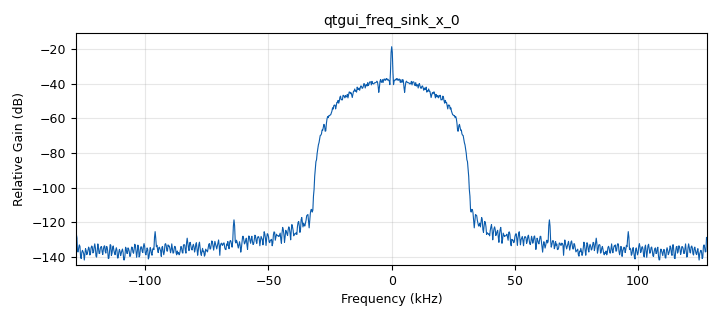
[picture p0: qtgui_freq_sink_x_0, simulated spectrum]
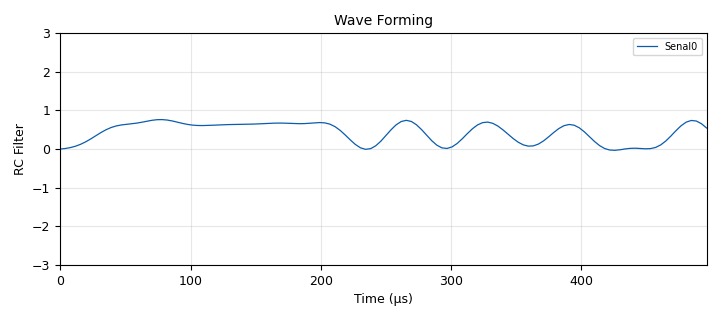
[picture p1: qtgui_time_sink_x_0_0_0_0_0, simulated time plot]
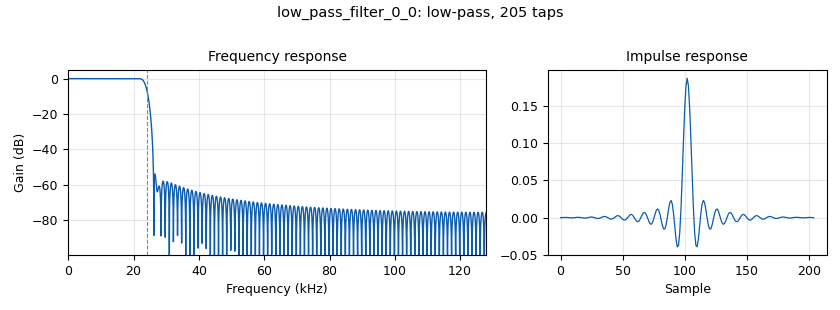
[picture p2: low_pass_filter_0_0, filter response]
<?xml version='1.0' encoding='utf-8'?>
<?grc format='1' created='3.7.13'?>
<flow_graph>
<block>
<key>options</key>
<param><key>id</key><value>top_block</value></param>
<param><key>category</key><value>Custom</value></param>
<param><key>generate_options</key><value>qt_gui</value></param>
</block>
<block>
<key>variable</key>
<param><key>id</key><value>Rb</value></param>
<param><key>value</key><value>32000</value></param>
</block>
<block>
<key>variable</key>
<param><key>id</key><value>Sps</value></param>
<param><key>value</key><value>8</value></param>
</block>
<block>
<key>variable</key>
<param><key>id</key><value>ntaps</value></param>
<param><key>value</key><value>128</value></param>
</block>
<block>
<key>variable</key>
<param><key>id</key><value>rolloff1</value></param>
<param><key>value</key><value>1.0</value></param>
</block>
<block>
<key>variable</key>
<param><key>id</key><value>rolloff2</value></param>
<param><key>value</key><value>0.5</value></param>
</block>
<block>
<key>variable</key>
<param><key>id</key><value>rolloff3</value></param>
<param><key>value</key><value>0.35</value></param>
</block>
<block>
<key>variable</key>
<param><key>id</key><value>rolloff4</value></param>
<param><key>value</key><value>0.</value></param>
</block>
<block>
<key>variable</key>
<param><key>id</key><value>samp_rate</value></param>
<param><key>value</key><value>Rb*Sps</value></param>
</block>
<block>
<key>E3TRadio_vec_diagrama_ojo_f</key>
<param><key>id</key><value>E3TRadio_vec_diagrama_ojo_f_0</value></param>
<param><key>N</key><value>Sps*256</value></param>
<param><key>Sps</key><value>Sps</value></param>
<param><key>samp_rate</key><value>samp_rate</value></param>
</block>
<block>
<key>virtual_sink</key>
<param><key>id</key><value>VS</value></param>
<param><key>stream_id</key><value>P1</value></param>
</block>
<block>
<key>analog_noise_source_x</key>
<param><key>id</key><value>analog_noise_source_x_0</value></param>
<param><key>amp</key><value>0.15</value></param>
<param><key>noise_type</key><value>analog.GR_GAUSSIAN</value></param>
<param><key>type</key><value>float</value></param>
<param><key>seed</key><value>0</value></param>
</block>
<block>
<key>analog_random_source_x</key>
<param><key>id</key><value>analog_random_source_x_0</value></param>
<param><key>max</key><value>2</value></param>
<param><key>min</key><value>0</value></param>
<param><key>num_samps</key><value>1000000</value></param>
<param><key>type</key><value>int</value></param>
<param><key>repeat</key><value>True</value></param>
</block>
<block>
<key>blocks_add_xx</key>
<param><key>id</key><value>blocks_add_xx_0_0</value></param>
<param><key>type</key><value>float</value></param>
</block>
<block>
<key>blocks_delay</key>
<param><key>id</key><value>blocks_delay_0</value></param>
<param><key>delay</key><value>int(Sps/2)</value></param>
<param><key>type</key><value>float</value></param>
</block>
<block>
<key>blocks_int_to_float</key>
<param><key>id</key><value>blocks_int_to_float_0</value></param>
<param><key>scale</key><value>1</value></param>
</block>
<block>
<key>blocks_multiply_const_vxx</key>
<param><key>id</key><value>blocks_multiply_const_vxx_0_0</value></param>
<param><key>const</key><value>1/1.5</value></param>
<param><key>type</key><value>float</value></param>
</block>
<block>
<key>blocks_stream_to_vector</key>
<param><key>id</key><value>blocks_stream_to_vector_0_0</value></param>
<param><key>type</key><value>float</value></param>
<param><key>num_items</key><value>Sps*256</value></param>
</block>
<block>
<key>import</key>
<param><key>id</key><value>import_0</value></param>
<param><key>import</key><value>import numpy</value></param>
</block>
<block>
<key>interp_fir_filter_xxx</key>
<param><key>id</key><value>interp_fir_filter_xxx_0_0_0_0_0_0</value></param>
<param><key>interp</key><value>Sps</value></param>
<param><key>taps</key><value>wform.rcos(Sps,ntaps,rolloff1)</value></param>
<param><key>type</key><value>fff</value></param>
</block>
<block>
<key>low_pass_filter</key>
<param><key>id</key><value>low_pass_filter_0_0</value></param>
<param><key>cutoff_freq</key><value>(Rb/2)*(1+rolloff2)</value></param>
<param><key>decim</key><value>1</value></param>
<param><key>type</key><value>fir_filter_fff</value></param>
<param><key>gain</key><value>1</value></param>
<param><key>samp_rate</key><value>samp_rate</value></param>
<param><key>width</key><value>(Rb/2)*(1+rolloff2)/8</value></param>
<param><key>win</key><value>firdes.WIN_HAMMING</value></param>
</block>
<block>
<key>qtgui_tab_widget</key>
<param><key>id</key><value>pestana</value></param>
<param><key>label0</key><value>Waveform Signal</value></param>
<param><key>label1</key><value>Spectrum</value></param>
<param><key>label2</key><value></value></param>
<param><key>num_tabs</key><value>3</value></param>
</block>
<block>
<key>qtgui_freq_sink_x</key>
<param><key>id</key><value>qtgui_freq_sink_x_0</value></param>
<param><key>autoscale</key><value>True</value></param>
<param><key>average</key><value>0.05</value></param>
<param><key>bw</key><value>samp_rate</value></param>
<param><key>fc</key><value>0</value></param>
<param><key>fftsize</key><value>1024</value></param>
<param><key>gui_hint</key><value>pestana@1</value></param>
<param><key>width1</key><value>3</value></param>
<param><key>showports</key><value>True</value></param>
<param><key>type</key><value>float</value></param>
<param><key>wintype</key><value>firdes.WIN_BLACKMAN_hARRIS</value></param>
</block>
<block>
<key>qtgui_time_sink_x</key>
<param><key>id</key><value>qtgui_time_sink_x_0_0_0_0_0</value></param>
<param><key>ctrlpanel</key><value>True</value></param>
<param><key>gui_hint</key><value>pestana@0</value></param>
<param><key>color1</key><value>"blue"</value></param>
<param><key>label1</key><value>Senal0</value></param>
<param><key>width1</key><value>3</value></param>
<param><key>name</key><value>"Wave Forming"</value></param>
<param><key>size</key><value>ntaps</value></param>
<param><key>srate</key><value>samp_rate</value></param>
<param><key>tr_mode</key><value>qtgui.TRIG_MODE_AUTO</value></param>
<param><key>type</key><value>float</value></param>
<param><key>ylabel</key><value>RC Filter</value></param>
<param><key>ymax</key><value>3</value></param>
<param><key>ymin</key><value>-3</value></param>
</block>
<block>
<key>virtual_source</key>
<param><key>id</key><value>virtual_source_0</value></param>
<param><key>stream_id</key><value>P1</value></param>
</block>
<block>
<key>epy_module</key>
<param><key>id</key><value>wform</value></param>
<param><key>source_code</key><value>import math
import numpy
#######################################################
##        Hecho por Homero Ortega Boada              ##
##        comdiguis@saber.uis.edu.co                 ##
##     Universidad Industrial de Santander           ##
#######################################################

#######################################################
##               Forma rectangular                   ##
#######################################################                       
def rect(Sps):
    return Sps*[1.,]

#######################################################
##               Forma de Nyquist                    ##
#######################################################                       
def nyq(Sps,ntaps):
    n=numpy.linspace(-int(ntaps/2), int(ntaps/2-1),ntaps)
    h=numpy.sinc(n/Sps)
#    return h/numpy.amax(h)
    return h
#######################################################
##               Forma Coseno Alzado                 ##
#######################################################                       
def rcos(Sps,ntaps,beta):
    if beta==0:
        h=nyq(Sps,ntaps)
    else:
        h=ntaps*[0,]
        for n in range(ntaps):
            k=n-ntaps/2. # esto es para que h[n] quede centrada en la mitad del vector
            if abs(k)==Sps/(2.*beta):
                h[n]=numpy.sinc(1./(2.*beta))*math.pi/4.
            else:
                h[n]=numpy.sinc(k/Sps)*math.cos(beta*k*math.pi/Sps)/(1.-(2.*beta*k/Sps)**2)                
    Amp=numpy.amax(h)
    return h/Amp
#######################################################
##            Forma Raiz de Coseno Alzado            ##
#######################################################                       

def rrcos(Sps,ntaps,beta):
    if beta==0:
        h=nyq(Sps,ntaps)
    else:
        h=ntaps*[0,]
        beta4=4.*beta
        for n in range(ntaps):
            k=n-ntaps/2. # esto es para que h[n] quede centrada en la mitad del vector
            if k==0:
                h[n]=1+beta*(4./math.pi-1.)
            elif abs(k)==Sps/beta4:
                ha=(1.+2./math.pi)*math.sin(math.pi/beta4)
                hb=(1.-2./math.pi)*math.cos(math.pi/beta4)
                h[n]=(ha+hb)*beta/math.sqrt(2.)
            else:
                ks=k/Sps
                kspi=math.pi*ks
                Num=math.sin(kspi*(1-beta))+beta4*ks*math.cos(kspi*(1+beta))
                Den=kspi*(1.-(beta4*ks)**2)
                h[n]=Num/Den                
    Amp=numpy.amax(h)
    return h/Amp
</value></param>
</block>
<connection><source_block_id>analog_noise_source_x_0</source_block_id><sink_block_id>low_pass_filter_0_0</sink_block_id><source_key>0</source_key><sink_key>0</sink_key></connection>
<connection><source_block_id>analog_random_source_x_0</source_block_id><sink_block_id>blocks_int_to_float_0</sink_block_id><source_key>0</source_key><sink_key>0</sink_key></connection>
<connection><source_block_id>blocks_add_xx_0_0</source_block_id><sink_block_id>blocks_multiply_const_vxx_0_0</sink_block_id><source_key>0</source_key><sink_key>0</sink_key></connection>
<connection><source_block_id>blocks_delay_0</source_block_id><sink_block_id>blocks_stream_to_vector_0_0</sink_block_id><source_key>0</source_key><sink_key>0</sink_key></connection>
<connection><source_block_id>blocks_int_to_float_0</source_block_id><sink_block_id>interp_fir_filter_xxx_0_0_0_0_0_0</sink_block_id><source_key>0</source_key><sink_key>0</sink_key></connection>
<connection><source_block_id>blocks_multiply_const_vxx_0_0</source_block_id><sink_block_id>VS</sink_block_id><source_key>0</source_key><sink_key>0</sink_key></connection>
<connection><source_block_id>blocks_stream_to_vector_0_0</source_block_id><sink_block_id>E3TRadio_vec_diagrama_ojo_f_0</sink_block_id><source_key>0</source_key><sink_key>0</sink_key></connection>
<connection><source_block_id>interp_fir_filter_xxx_0_0_0_0_0_0</source_block_id><sink_block_id>blocks_add_xx_0_0</sink_block_id><source_key>0</source_key><sink_key>0</sink_key></connection>
<connection><source_block_id>low_pass_filter_0_0</source_block_id><sink_block_id>blocks_add_xx_0_0</sink_block_id><source_key>0</source_key><sink_key>1</sink_key></connection>
<connection><source_block_id>virtual_source_0</source_block_id><sink_block_id>blocks_delay_0</sink_block_id><source_key>0</source_key><sink_key>0</sink_key></connection>
<connection><source_block_id>virtual_source_0</source_block_id><sink_block_id>qtgui_freq_sink_x_0</sink_block_id><source_key>0</source_key><sink_key>0</sink_key></connection>
<connection><source_block_id>virtual_source_0</source_block_id><sink_block_id>qtgui_time_sink_x_0_0_0_0_0</sink_block_id><source_key>0</source_key><sink_key>0</sink_key></connection>
</flow_graph>
